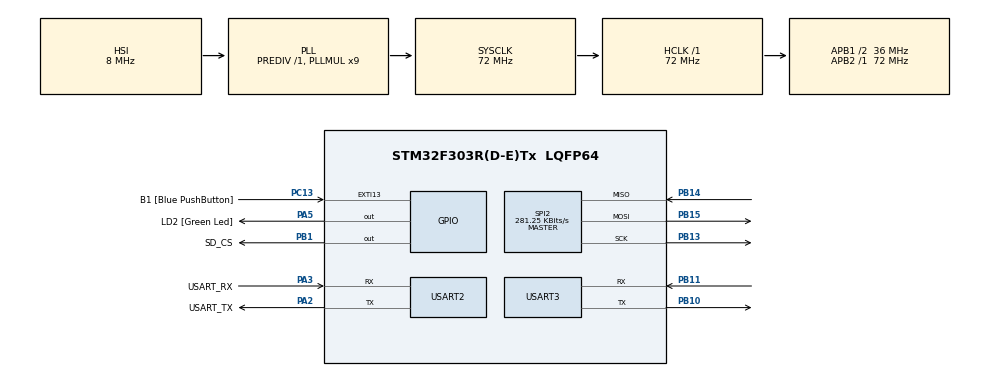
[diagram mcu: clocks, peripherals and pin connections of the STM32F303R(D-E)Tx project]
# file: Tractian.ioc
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Mcu.Family=STM32F3
Mcu.Name=STM32F303R(D-E)Tx
Mcu.Package=LQFP64
NVIC.PriorityGroup=NVIC_PRIORITYGROUP_0
PA13.GPIO_Label=TMS
PA13.Mode=Serial_Wire
PA13.Signal=SYS_JTMS-SWDIO
PA14.GPIO_Label=TCK
PA14.Mode=Serial_Wire
PA14.Signal=SYS_JTCK-SWCLK
PA2.GPIO_Label=USART_TX
PA2.GPIO_Mode=GPIO_MODE_AF_PP
PA2.GPIO_PuPd=GPIO_NOPULL
PA2.GPIO_Speed=GPIO_SPEED_FREQ_LOW
PA2.Mode=Asynchronous
PA2.Signal=USART2_TX
PA3.GPIO_Label=USART_RX
PA3.GPIO_Mode=GPIO_MODE_AF_PP
PA3.GPIO_PuPd=GPIO_NOPULL
PA3.GPIO_Speed=GPIO_SPEED_FREQ_LOW
PA3.Mode=Asynchronous
PA3.Signal=USART2_RX
PA5.GPIO_Label=LD2 [Green Led]
PA5.GPIO_Mode=GPIO_MODE_OUTPUT_PP
PA5.GPIO_PuPd=GPIO_NOPULL
PA5.GPIO_Speed=GPIO_SPEED_FREQ_LOW
PA5.Signal=GPIO_Output
PB1.GPIO_Label=SD_CS
PB1.Signal=GPIO_Output
PB10.Mode=Asynchronous
PB10.Signal=USART3_TX
PB11.Mode=Asynchronous
PB11.Signal=USART3_RX
PB13.Mode=Full_Duplex_Master
PB13.Signal=SPI2_SCK
PB14.Mode=Full_Duplex_Master
PB14.Signal=SPI2_MISO
PB15.Mode=Full_Duplex_Master
PB15.Signal=SPI2_MOSI
PB3.GPIO_Label=SWO
PB3.Signal=SYS_JTDO-TRACESWO
PC13.GPIO_Label=B1 [Blue PushButton]
PC13.GPIO_ModeDefaultEXTI=GPIO_MODE_IT_FALLING
PC13.Signal=GPXTI13
PC14-OSC32_IN.Mode=LSE-External-Oscillator
PC14-OSC32_IN.Signal=RCC_OSC32_IN
PC15-OSC32_OUT.Mode=LSE-External-Oscillator
PC15-OSC32_OUT.Signal=RCC_OSC32_OUT
PF0-OSC_IN.Mode=HSE-External-Clock-Source
PF0-OSC_IN.Signal=RCC_OSC_IN
PF1-OSC_OUT.Signal=RCC_OSC_OUT
ProjectManager.HeapSize=0x200
ProjectManager.StackSize=0x400
ProjectManager.TargetToolchain=STM32CubeIDE
RCC.AHBFreq_Value=72000000
RCC.APB1CLKDivider=RCC_HCLK_DIV2
RCC.APB1Freq_Value=36000000
RCC.APB1TimFreq_Value=72000000
RCC.APB2Freq_Value=72000000
RCC.APB2TimFreq_Value=72000000
RCC.CortexFreq_Value=72000000
RCC.HCLKFreq_Value=72000000
RCC.HSE_VALUE=8000000
RCC.HSI_VALUE=8000000
RCC.PLLM=8
RCC.PLLMUL=RCC_PLL_MUL9
RCC.PLLN=336
RCC.PLLP=RCC_PLLP_DIV4
RCC.PLLQ=7
RCC.RCC_PLLsource_Clock_Source_FROM_HSE=RCC_HSE_PREDIV_DIV2
RCC.SYSCLKFreq_VALUE=72000000
RCC.SYSCLKSourceVirtual=RCC_SYSCLKSOURCE_PLLCLK
RCC.USBFreq_Value=72000000
SPI2.BaudRatePrescaler=SPI_BAUDRATEPRESCALER_128
SPI2.CalculateBaudRate=281.25 KBits/s
SPI2.DataSize=SPI_DATASIZE_8BIT
SPI2.Direction=SPI_DIRECTION_2LINES
SPI2.Mode=SPI_MODE_MASTER
SPI2.VirtualType=VM_MASTER
USART2.VirtualMode-Asynchronous=VM_ASYNC
USART3.VirtualMode-Asynchronous=VM_ASYNC
VP_FATFS_VS_Generic.Mode=User_defined
board=NUCLEO-F303RE

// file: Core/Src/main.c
/* USER CODE BEGIN Header */
/**
  ******************************************************************************
  * @file           : main.c
  * @brief          : Main program body
  ******************************************************************************
  * @attention
  *
  * Copyright (c) 2022 STMicroelectronics.
  * All rights reserved.
  *
  * This software is licensed under terms that can be found in the LICENSE file
  * in the root directory of this software component.
  * If no LICENSE file comes with this software, it is provided AS-IS.
  *
  ******************************************************************************
  */
/* USER CODE END Header */
#include "main.h"
#include "fatfs.h"

SPI_HandleTypeDef hspi2;
UART_HandleTypeDef huart2;
UART_HandleTypeDef huart3;
int state = MOUNT;

void SystemClock_Config(void);
static void MX_GPIO_Init(void);
static void MX_USART2_UART_Init(void);
static void MX_SPI2_Init(void);
static void MX_USART3_UART_Init(void);
HAL_StatusTypeDef LoRa_Protocol(uint8_t *pData);

int main(void)
{

  /* MCU Configuration--------------------------------------------------------*/

  /* Reset of all peripherals, Initializes the Flash interface and the Systick. */
  HAL_Init();

  /* Configure the system clock */
  SystemClock_Config();

  /* Initialize all configured peripherals */
  MX_GPIO_Init();
  MX_USART2_UART_Init();
  MX_SPI2_Init();
  MX_USART3_UART_Init();
  MX_FATFS_Init();
  /* USER CODE BEGIN 2 */

  //some variables for FatFs
  FATFS FatFs; 	//Fatfs handle
  FIL fil; 		//File handle
  FRESULT fres; //Result after operations

 //Read bytes from "test.txt" on the SD card 50 kB (RAM only has 80 kB)
  BYTE readBuf[READ_BF_SIZE];
  TCHAR data;
  // Pointer to f_open function
  TCHAR* rres = &data;

  /* USER CODE END 2 */

  /* Infinite loop */
  /* USER CODE BEGIN WHILE */
  while (1)
  {
	HAL_GPIO_TogglePin(LD2_GPIO_Port, LD2_Pin); // LED BLINKS!
	HAL_Delay(TIME);

	switch(state) {
	  case MOUNT:
	     fres = f_mount(&FatFs, "", 1); //1=mount now
		 if (fres != FR_OK) {
	       state = MOUNT; //Error, try again
	       break;
		 }
		 state = OPEN;
	  break;

	  case OPEN:
	     //Now let's try to open file "test.txt"
         fres = f_open(&fil, "test.txt", FA_READ);
         if (fres != FR_OK) {
        	 state = CLOSE; //Error, try again
        	 break;
         }
         state = READ;
	  break;

	  case READ:
	  for (int i = 0; i < 5 ; i++) { // Trying to read 50 kB ten times
		   rres = f_gets((TCHAR*)readBuf, READ_BF_SIZE, &fil);
		   if(rres != 0) {
			   if (LoRa_Protocol(readBuf) != HAL_OK) break; //Send 50 kB to LoRa modem
	       } else {
		       break; //Error, try again
	        }
		  }
	      state = CLOSE;
	  break;

	  case CLOSE:
	    //Don't forget to close your file!
	     f_close(&fil);
	     state = MOUNT;
	  break;

	  default:
		  state = MOUNT;
	  }

	  /* USER CODE END WHILE */

  }
}

/**
 * @brif Lora communiation protocol
 * retval none
 */

HAL_StatusTypeDef LoRa_Protocol(uint8_t *pData)
{
 // TODO

return HAL_UART_Transmit(&huart3, (uint8_t*)pData, READ_BF_SIZE, 100);
}
void SystemClock_Config(void)
{
  RCC_OscInitTypeDef RCC_OscInitStruct = {0};
  RCC_ClkInitTypeDef RCC_ClkInitStruct = {0};
  RCC_PeriphCLKInitTypeDef PeriphClkInit = {0};

  /** Initializes the RCC Oscillators according to the specified parameters
  * in the RCC_OscInitTypeDef structure.
  */
  RCC_OscInitStruct.OscillatorType = RCC_OSCILLATORTYPE_HSI;
  RCC_OscInitStruct.HSIState = RCC_HSI_ON;
  RCC_OscInitStruct.HSICalibrationValue = RCC_HSICALIBRATION_DEFAULT;
  RCC_OscInitStruct.PLL.PLLState = RCC_PLL_ON;
  RCC_OscInitStruct.PLL.PLLSource = RCC_PLLSOURCE_HSI;
  RCC_OscInitStruct.PLL.PLLMUL = RCC_PLL_MUL9;
  RCC_OscInitStruct.PLL.PREDIV = RCC_PREDIV_DIV1;
  if (HAL_RCC_OscConfig(&RCC_OscInitStruct) != HAL_OK)
  {
    Error_Handler();
  }

  /** Initializes the CPU, AHB and APB buses clocks
  */
  RCC_ClkInitStruct.ClockType = RCC_CLOCKTYPE_HCLK|RCC_CLOCKTYPE_SYSCLK
                              |RCC_CLOCKTYPE_PCLK1|RCC_CLOCKTYPE_PCLK2;
  RCC_ClkInitStruct.SYSCLKSource = RCC_SYSCLKSOURCE_PLLCLK;
  RCC_ClkInitStruct.AHBCLKDivider = RCC_SYSCLK_DIV1;
  RCC_ClkInitStruct.APB1CLKDivider = RCC_HCLK_DIV2;
  RCC_ClkInitStruct.APB2CLKDivider = RCC_HCLK_DIV1;

  if (HAL_RCC_ClockConfig(&RCC_ClkInitStruct, FLASH_LATENCY_2) != HAL_OK)
  {
    Error_Handler();
  }
  PeriphClkInit.PeriphClockSelection = RCC_PERIPHCLK_USART2|RCC_PERIPHCLK_USART3;
  PeriphClkInit.Usart2ClockSelection = RCC_USART2CLKSOURCE_PCLK1;
  PeriphClkInit.Usart3ClockSelection = RCC_USART3CLKSOURCE_PCLK1;
  if (HAL_RCCEx_PeriphCLKConfig(&PeriphClkInit) != HAL_OK)
  {
    Error_Handler();
  }
}

static void MX_SPI2_Init(void)
{

  /* SPI2 parameter configuration*/
  hspi2.Instance = SPI2;
  hspi2.Init.Mode = SPI_MODE_MASTER;
  hspi2.Init.Direction = SPI_DIRECTION_2LINES;
  hspi2.Init.DataSize = SPI_DATASIZE_8BIT;
  hspi2.Init.CLKPolarity = SPI_POLARITY_LOW;
  hspi2.Init.CLKPhase = SPI_PHASE_1EDGE;
  hspi2.Init.NSS = SPI_NSS_SOFT;
  hspi2.Init.BaudRatePrescaler = SPI_BAUDRATEPRESCALER_128;
  hspi2.Init.FirstBit = SPI_FIRSTBIT_MSB;
  hspi2.Init.TIMode = SPI_TIMODE_DISABLE;
  hspi2.Init.CRCCalculation = SPI_CRCCALCULATION_DISABLE;
  hspi2.Init.CRCPolynomial = 7;
  hspi2.Init.CRCLength = SPI_CRC_LENGTH_DATASIZE;
  hspi2.Init.NSSPMode = SPI_NSS_PULSE_ENABLE;
  if (HAL_SPI_Init(&hspi2) != HAL_OK)
  {
    Error_Handler();
  }

}

static void MX_USART2_UART_Init(void)
{

  huart2.Instance = USART2;
  huart2.Init.BaudRate = 38400;
  huart2.Init.WordLength = UART_WORDLENGTH_8B;
  huart2.Init.StopBits = UART_STOPBITS_1;
  huart2.Init.Parity = UART_PARITY_NONE;
  huart2.Init.Mode = UART_MODE_TX_RX;
  huart2.Init.HwFlowCtl = UART_HWCONTROL_NONE;
  huart2.Init.OverSampling = UART_OVERSAMPLING_16;
  huart2.Init.OneBitSampling = UART_ONE_BIT_SAMPLE_DISABLE;
  huart2.AdvancedInit.AdvFeatureInit = UART_ADVFEATURE_NO_INIT;
  if (HAL_UART_Init(&huart2) != HAL_OK)
  {
    Error_Handler();
  }

}

static void MX_USART3_UART_Init(void)
{

  huart3.Instance = USART3;
  huart3.Init.BaudRate = 38400;
  huart3.Init.WordLength = UART_WORDLENGTH_8B;
  huart3.Init.StopBits = UART_STOPBITS_1;
  huart3.Init.Parity = UART_PARITY_NONE;
  huart3.Init.Mode = UART_MODE_TX_RX;
  huart3.Init.HwFlowCtl = UART_HWCONTROL_NONE;
  huart3.Init.OverSampling = UART_OVERSAMPLING_16;
  huart3.Init.OneBitSampling = UART_ONE_BIT_SAMPLE_DISABLE;
  huart3.AdvancedInit.AdvFeatureInit = UART_ADVFEATURE_NO_INIT;
  if (HAL_UART_Init(&huart3) != HAL_OK)
  {
    Error_Handler();
  }

}

static void MX_GPIO_Init(void)
{
  GPIO_InitTypeDef GPIO_InitStruct = {0};

  /* GPIO Ports Clock Enable */
  __HAL_RCC_GPIOC_CLK_ENABLE();
  __HAL_RCC_GPIOF_CLK_ENABLE();
  __HAL_RCC_GPIOA_CLK_ENABLE();
  __HAL_RCC_GPIOB_CLK_ENABLE();

  /*Configure GPIO pin Output Level */
  HAL_GPIO_WritePin(LD2_GPIO_Port, LD2_Pin, GPIO_PIN_RESET);

  /*Configure GPIO pin Output Level */
  HAL_GPIO_WritePin(SD_CS_GPIO_Port, SD_CS_Pin, GPIO_PIN_RESET);

  /*Configure GPIO pin : B1_Pin */
  GPIO_InitStruct.Pin = B1_Pin;
  GPIO_InitStruct.Mode = GPIO_MODE_IT_FALLING;
  GPIO_InitStruct.Pull = GPIO_NOPULL;
  HAL_GPIO_Init(B1_GPIO_Port, &GPIO_InitStruct);

  /*Configure GPIO pin : LD2_Pin */
  GPIO_InitStruct.Pin = LD2_Pin;
  GPIO_InitStruct.Mode = GPIO_MODE_OUTPUT_PP;
  GPIO_InitStruct.Pull = GPIO_NOPULL;
  GPIO_InitStruct.Speed = GPIO_SPEED_FREQ_LOW;
  HAL_GPIO_Init(LD2_GPIO_Port, &GPIO_InitStruct);

  /*Configure GPIO pin : SD_CS_Pin */
  GPIO_InitStruct.Pin = SD_CS_Pin;
  GPIO_InitStruct.Mode = GPIO_MODE_OUTPUT_PP;
  GPIO_InitStruct.Pull = GPIO_NOPULL;
  GPIO_InitStruct.Speed = GPIO_SPEED_FREQ_LOW;
  HAL_GPIO_Init(SD_CS_GPIO_Port, &GPIO_InitStruct);

}

void Error_Handler(void)
{
  __disable_irq();
  while (1)
  {
  }
}
